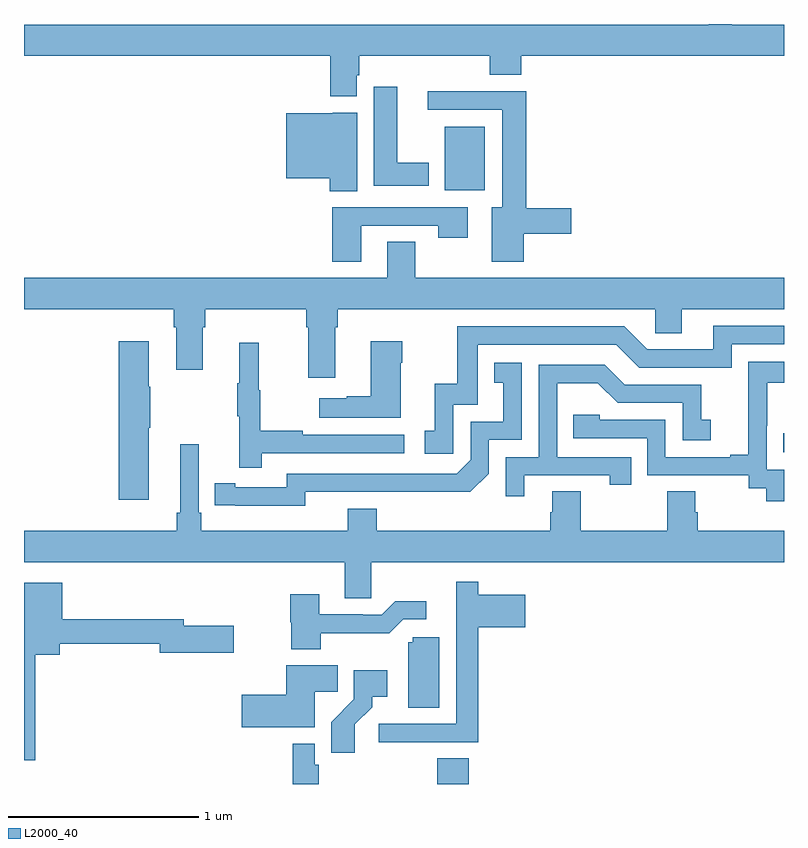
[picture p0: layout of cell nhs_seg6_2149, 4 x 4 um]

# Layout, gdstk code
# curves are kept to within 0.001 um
import gdstk
lib = gdstk.Library(unit=1e-6, precision=1e-09)
def R(c, l, rs):  # rectangles x0, y0, x1, y1
    for r in rs: c.add(gdstk.rectangle(r[:2], r[2:], *l))
def P(c, l, *ps):  # polygons
    for p in ps: c.add(gdstk.Polygon(p, *l))
L2000_40 = (2000, 40)

nhs_seg6_2149 = lib.new_cell('nhs_seg6_2149')
R(nhs_seg6_2149, L2000_40, [(241.175,947.5,241.34,947.636), (242.995,949.245,243,949.346), (241.214,950.624,241.426,950.959)])
P(nhs_seg6_2149, L2000_40, [(239,951.332),(240.611,951.332),(240.611,951.119),(240.751,951.119),(240.751,951.231),(240.764,951.231),(240.764,951.332),(241.451,951.332),(241.451,951.233),(241.616,951.233),(241.616,951.332),(243,951.332),(243,951.496),(242.725,951.496),(242.725,951.5),(242.603,951.5),(242.603,951.496),(239,951.496)],
  [(241.129,950.77),(240.964,950.77),(240.964,951.169),(240.842,951.169),(240.842,950.648),(241.129,950.648)],
  [(241.63,950.396),(241.879,950.396),(241.879,950.531),(241.643,950.531),(241.643,951.146),(241.125,951.146),(241.125,951.048),(241.517,951.048),(241.517,950.536),(241.463,950.536),(241.463,950.25),(241.63,950.25)],
  [(240.754,951.034),(240.624,951.034),(240.624,951.031),(240.38,951.031),(240.38,950.687),(240.608,950.687),(240.608,950.62),(240.754,950.62)],
  [(240.775,950.439),(241.18,950.439),(241.18,950.376),(241.336,950.376),(241.336,950.535),(240.623,950.535),(240.623,950.25),(240.775,950.25)],
  [(240.637,949.904),(240.65,949.904),(240.65,950),(242.322,950),(242.322,949.873),(242.461,949.873),(242.461,950),(243,950),(243,950.164),(241.059,950.164),(241.059,950.354),(240.911,950.354),(240.911,950.164),(239,950.164),(239,950),(239.789,950),(239.789,949.904),(239.801,949.904),(239.801,949.68),(239.941,949.68),(239.941,949.904),(239.954,949.904),(239.954,950),(240.485,950),(240.485,949.904),(240.497,949.904),(240.497,949.638),(240.637,949.638)],
  [(241.26,949.497),(241.389,949.497),(241.389,949.812),(242.118,949.812),(242.238,949.692),(242.724,949.692),(242.724,949.815),(243,949.815),(243,949.911),(242.627,949.911),(242.627,949.788),(242.28,949.788),(242.16,949.908),(241.281,949.908),(241.281,949.606),(241.163,949.606),(241.163,949.359),(241.11,949.359),(241.11,949.239),(241.26,949.239)],
  [(239.656,949.375),(239.664,949.375),(239.664,949.592),(239.656,949.592),(239.656,949.831),(239.498,949.831),(239.498,948.996),(239.656,948.996)],
  [(240.982,949.718),(240.99,949.718),(240.99,949.831),(240.824,949.831),(240.824,949.541),(240.698,949.541),(240.698,949.531),(240.555,949.531),(240.555,949.427),(240.982,949.427)],
  [(240.251,949.242),(241,949.242),(241,949.338),(240.467,949.338),(240.467,949.358),(240.244,949.358),(240.244,949.572),(240.236,949.572),(240.236,949.822),(240.134,949.822),(240.134,949.609),(240.123,949.609),(240.123,949.435),(240.134,949.435),(240.134,949.164),(240.251,949.164)],
  [(243,949.155),(242.91,949.155),(242.91,949.385),(242.912,949.385),(242.912,949.613),(243,949.613),(243,949.723),(242.812,949.723),(242.812,949.517),(242.813,949.517),(242.813,949.234),(242.717,949.234),(242.717,949.221),(242.376,949.221),(242.376,949.416),(242.031,949.416),(242.031,949.443),(241.891,949.443),(241.891,949.32),(242.28,949.32),(242.28,949.125),(242.814,949.125),(242.814,949.057),(242.907,949.057),(242.907,948.987),(243,948.987)],
  [(240.48,949.038),(241.348,949.037),(241.446,949.134),(241.446,949.311),(241.62,949.311),(241.62,949.717),(241.474,949.717),(241.474,949.611),(241.523,949.611),(241.523,949.407),(241.35,949.407),(241.35,949.206),(241.278,949.134),(240.384,949.134),(240.384,949.062),(240.112,949.062),(240.112,949.082),(240.004,949.082),(240.004,948.966),(240.48,948.965)],
  [(241.633,949.125),(242.084,949.125),(242.084,949.074),(242.195,949.074),(242.195,949.221),(241.806,949.221),(241.806,949.61),(242.02,949.61),(242.124,949.506),(242.466,949.506),(242.466,949.308),(242.614,949.308),(242.614,949.417),(242.565,949.417),(242.565,949.602),(242.161,949.602),(242.056,949.707),(241.71,949.707),(241.71,949.221),(241.536,949.221),(241.536,949.014),(241.633,949.014)],
  [(240.828,948.668),(243,948.668),(243,948.832),(242.546,948.832),(242.546,948.93),(242.533,948.93),(242.533,949.04),(242.386,949.04),(242.386,948.832),(241.929,948.832),(241.929,949.04),(241.781,949.04),(241.781,948.93),(241.769,948.93),(241.769,948.832),(240.857,948.832),(240.857,948.949),(240.704,948.949),(240.704,948.832),(239.933,948.832),(239.933,948.928),(239.919,948.928),(239.919,949.288),(239.822,949.288),(239.822,948.928),(239.803,948.928),(239.803,948.832),(239,948.832),(239,948.668),(240.689,948.668),(240.689,948.478),(240.828,948.478)],
  [(241.091,947.721),(241.391,947.721),(241.391,948.326),(241.639,948.326),(241.639,948.496),(241.391,948.496),(241.391,948.565),(241.274,948.565),(241.274,948.342),(241.275,948.342),(241.275,947.817),(240.867,947.817),(240.867,947.719),(241.091,947.719)],
  [(239.059,948.179),(239.188,948.179),(239.188,948.238),(239.714,948.238),(239.714,948.191),(240.103,948.191),(240.103,948.333),(239.842,948.333),(239.842,948.367),(239.201,948.367),(239.201,948.559),(239,948.559),(239,947.625),(239.059,947.625)],
  [(240.561,948.294),(240.923,948.293),(240.996,948.366),(241.117,948.366),(241.117,948.463),(240.955,948.463),(240.882,948.39),(240.782,948.39),(240.782,948.393),(240.553,948.393),(240.553,948.499),(240.401,948.499),(240.401,948.351),(240.406,948.351),(240.406,948.209),(240.561,948.209)],
  [(241.186,948.273),(241.047,948.273),(241.047,948.246),(241.022,948.246),(241.022,947.902),(241.186,947.902)],
  [(240.529,947.986),(240.65,947.986),(240.65,948.124),(240.38,948.124),(240.38,947.969),(240.147,947.969),(240.147,947.798),(240.529,947.798)],
  [(240.742,947.815),(240.832,947.905),(240.832,947.96),(240.913,947.96),(240.913,948.1),(240.735,948.1),(240.735,947.945),(240.616,947.826),(240.616,947.664),(240.742,947.664)],
  [(240.531,947.601),(240.531,947.713),(240.415,947.713),(240.415,947.5),(240.551,947.5),(240.551,947.601)])

lib.write_gds('nhs_seg6_2149.gds')
